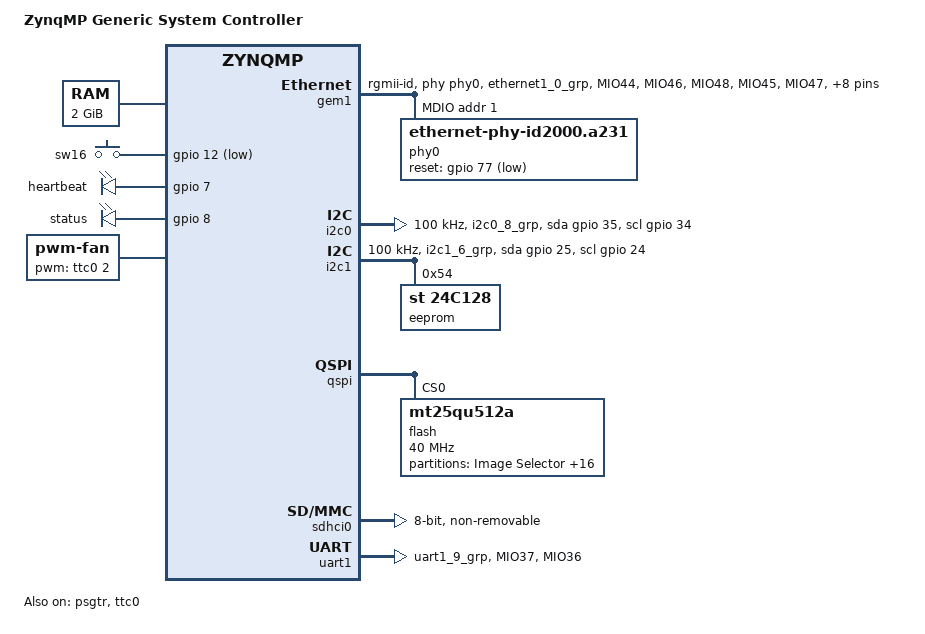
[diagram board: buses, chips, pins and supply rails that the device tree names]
// SPDX-License-Identifier: GPL-2.0
/*
 * dts file for Xilinx ZynqMP Generic System Controller
 *
 * (C) Copyright 2021 - 2022, Xilinx, Inc.
 * (C) Copyright 2022 - 2023, Advanced Micro Devices, Inc.
 *
 * Michal Simek <michal.simek@amd.com>
 */
/dts-v1/;

#include "zynqmp.dtsi"
#include "zynqmp-clk-ccf.dtsi"
#include <dt-bindings/input/input.h>
#include <dt-bindings/gpio/gpio.h>
#include <dt-bindings/net/ti-dp83867.h>
#include <dt-bindings/pinctrl/pinctrl-zynqmp.h>
#include <dt-bindings/phy/phy.h>

/ {
	model = "ZynqMP Generic System Controller";
	compatible = "xlnx,zynqmp-sc-revB", "xlnx,zynqmp-sc", "xlnx,zynqmp";

	aliases {
		i2c0 = &i2c0;
		i2c1 = &i2c1;
		mmc0 = &sdhci0;
		mmc1 = &sdhci1;
		nvmem0 = &eeprom;
		rtc0 = &rtc;
		serial0 = &uart0;
		serial1 = &uart1;
		serial2 = &dcc;
		spi0 = &qspi;
		spi1 = &spi0;
		spi2 = &spi1;
	};

	chosen {
		bootargs = "earlycon";
		stdout-path = "serial1:115200n8";
	};

	memory@0 {
		device_type = "memory";
		reg = <0x0 0x0 0x0 0x80000000>;
	};

	gpio-keys {
		compatible = "gpio-keys";
		autorepeat;
		fwuen {
			label = "sw16";
			gpios = <&gpio 12 GPIO_ACTIVE_LOW>;
			linux,code = <BTN_MISC>;
			wakeup-source;
			autorepeat;
		};
	};

	leds {
		compatible = "gpio-leds";
		ds40-led {
			label = "heartbeat";
			gpios = <&gpio 7 GPIO_ACTIVE_HIGH>;
			linux,default-trigger = "heartbeat";
		};
		ds44-led {
			label = "status";
			gpios = <&gpio 8 GPIO_ACTIVE_HIGH>;
		};
	};

	si5332_2: si5332-2 { /* u42 */
		compatible = "fixed-clock";
		#clock-cells = <0>;
		clock-frequency = <26000000>;
	};

	pwm-fan {
		compatible = "pwm-fan";
		status = "okay";
		pwms = <&ttc0 2 40000 1>;
	};
};

&gpio {
	status = "okay";
	gpio-line-names = "QSPI_CLK", "QSPI_DQ1", "QSPI_DQ2", "QSPI_DQ3", "QSPI_DQ0", /* 0 - 4 */
		"QSPI_CS_B", "", "LED1", "LED2", "", /* 5 - 9 */
		"", "ZU4_TRIGGER", "FWUEN", "EMMC_DAT0", "EMMC_DAT1", /* 10 - 14 */
		"EMMC_DAT2", "EMMC_DAT3", "EMMC_DAT4", "EMMC_DAT5", "EMMC_DAT6", /* 15 - 19 */
		"EMMC_DAT7", "EMMC_CMD", "EMMC_CLK", "EMMC_RST_B", "I2C1_SCL", /* 20 - 24 */
		"I2C1_SDA", "UART0_RXD", "UART0_TXD", "", "", /* 25 - 29 */
		"", "", "", "", "I2C0_SCL", /* 30 - 34 */
		"I2C0_SDA", "UART1_TXD", "UART1_RXD", "GEM_TX_CLK", "GEM_TX_D0", /* 35 - 39 */
		"GEM_TX_D1", "GEM_TX_D2", "GEM_TX_D3", "GEM_TX_CTL", "GEM_RX_CLK", /* 40 - 44 */
		"GEM_RX_D0", "GEM_RX_D1", "GEM_RX_D2", "GEM_RX_D3", "GEM_RX_CTL", /* 45 - 49 */
		"GEM_MDC", "GEM_MDIO", "USB0_CLK", "USB0_DIR", "USB0_DATA2", /* 50 - 54 */
		"USB0_NXT", "USB0_DATA0", "USB0_DATA1", "USB0_STP", "USB0_DATA3", /* 55 - 59 */
		"USB0_DATA4", "USB0_DATA5", "USB0_DATA6", "USB0_DATA7", "", /* 60 - 64 */
		"", "", "", "", "", /* 65 - 69 */
		"", "", "", "", "", /* 70 - 74 */
		"", "", "ETH_RESET_B", /* 75 - 77, MIO end and EMIO start */
		"", "", /* 78 - 79 */
		"", "", "", "", "", /* 80 - 84 */
		"", "", "", "", "", /* 85 -89 */
		"", "", "", "", "", /* 90 - 94 */
		"", "", "", "", "", /* 95 - 99 */
		"", "", "", "", "", /* 100 - 104 */
		"", "", "", "", "", /* 105 - 109 */
		"", "", "", "", "", /* 110 - 114 */
		"", "", "", "", "", /* 115 - 119 */
		"", "", "", "", "", /* 120 - 124 */
		"", "", "", "", "", /* 125 - 129 */
		"", "", "", "", "", /* 130 - 134 */
		"", "", "", "", "", /* 135 - 139 */
		"", "", "", "", "", /* 140 - 144 */
		"", "", "", "", "", /* 145 - 149 */
		"", "", "", "", "", /* 150 - 154 */
		"", "", "", "", "", /* 155 - 159 */
		"", "", "", "", "", /* 160 - 164 */
		"", "", "", "", "", /* 165 - 169 */
		"", "", "", ""; /* 170 - 173 */
};

&gem1 { /* gem1 MIO38-49, MDIO MIO50/51 */
	status = "okay";
	phy-mode = "rgmii-id";
	phy-handle = <&phy0>;
	pinctrl-names = "default";
	pinctrl-0 = <&pinctrl_gem1_default>;

	mdio: mdio {
		#address-cells = <1>;
		#size-cells = <0>;

		phy0: ethernet-phy@1 {
			#phy-cells = <1>;
			compatible = "ethernet-phy-id2000.a231";
			reg = <1>;
			ti,rx-internal-delay = <DP83867_RGMIIDCTL_2_25_NS>;
			ti,tx-internal-delay = <DP83867_RGMIIDCTL_2_75_NS>;
			ti,fifo-depth = <DP83867_PHYCR_FIFO_DEPTH_4_B_NIB>;
			ti,dp83867-rxctrl-strap-quirk;
			reset-gpios = <&gpio 77 GPIO_ACTIVE_LOW>;
			reset-assert-us = <100>;
			reset-deassert-us = <280>;
		};
	};
};

&i2c0 {
	#address-cells = <1>;
	#size-cells = <0>;
	status = "okay";
	clock-frequency = <100000>;
	pinctrl-names = "default", "gpio";
	pinctrl-0 = <&pinctrl_i2c0_default>;
	pinctrl-1 = <&pinctrl_i2c0_gpio>;
	scl-gpios = <&gpio 34 (GPIO_ACTIVE_HIGH | GPIO_OPEN_DRAIN)>;
	sda-gpios = <&gpio 35 (GPIO_ACTIVE_HIGH | GPIO_OPEN_DRAIN)>;
};

&i2c1 { /* i2c1 MIO 24-25 */
	status = "okay";
	bootph-all;
	clock-frequency = <100000>;
	pinctrl-names = "default", "gpio";
	pinctrl-0 = <&pinctrl_i2c1_default>;
	pinctrl-1 = <&pinctrl_i2c1_gpio>;
	scl-gpios = <&gpio 24 (GPIO_ACTIVE_HIGH | GPIO_OPEN_DRAIN)>;
	sda-gpios = <&gpio 25 (GPIO_ACTIVE_HIGH | GPIO_OPEN_DRAIN)>;

	/* Use for storing information about SC board */
	eeprom: eeprom@54 { /* u34 - m24128 16kB */
		compatible = "st,24c128", "atmel,24c128";
		reg = <0x54>; /* & 0x5c */
		bootph-all;
	};
};

/* USB 3.0 only */
&psgtr {
	status = "okay";
	/* nc, nc, usb3 */
	clocks = <&si5332_2>;
	clock-names = "ref2";
};

&qspi { /* MIO 0-5 */
	status = "okay";
	/* QSPI should also have PINCTRL setup */
	flash@0 {
		compatible = "mt25qu512a", "m25p80", "jedec,spi-nor"; /* mt25qu512abb8e12 512Mib */
		#address-cells = <1>;
		#size-cells = <1>;
		reg = <0>;
		spi-tx-bus-width = <4>;
		spi-rx-bus-width = <4>;
		spi-max-frequency = <40000000>; /* 40MHz */
		partition@0 {
			label = "Image Selector";
			reg = <0x0 0x80000>; /* 512KB */
			read-only;
			lock;
		};
		partition@80000 {
			label = "Image Selector Golden";
			reg = <0x80000 0x80000>; /* 512KB */
			read-only;
			lock;
		};
		partition@100000 {
			label = "Persistent Register";
			reg = <0x100000 0x20000>; /* 128KB */
		};
		partition@120000 {
			label = "Persistent Register Backup";
			reg = <0x120000 0x20000>; /* 128KB */
		};
		partition@140000 {
			label = "Open_1";
			reg = <0x140000 0xC0000>; /* 768KB */
		};
		partition@200000 {
			label = "Image A (FSBL, PMU, ATF, U-Boot)";
			reg = <0x200000 0xD00000>; /* 13MB */
		};
		partition@f00000 {
			label = "ImgSel Image A Catch";
			reg = <0xF00000 0x80000>; /* 512KB */
			read-only;
			lock;
		};
		partition@f80000 {
			label = "Image B (FSBL, PMU, ATF, U-Boot)";
			reg = <0xF80000 0xD00000>; /* 13MB */
		};
		partition@1c80000 {
			label = "ImgSel Image B Catch";
			reg = <0x1C80000 0x80000>; /* 512KB */
			read-only;
			lock;
		};
		partition@1d00000 {
			label = "Open_2";
			reg = <0x1D00000 0x100000>; /* 1MB */
		};
		partition@1e00000 {
			label = "Recovery Image";
			reg = <0x1E00000 0x200000>; /* 2MB */
			read-only;
			lock;
		};
		partition@2000000 {
			label = "Recovery Image Backup";
			reg = <0x2000000 0x200000>; /* 2MB */
			read-only;
			lock;
		};
		partition@2200000 {
			label = "U-Boot storage variables";
			reg = <0x2200000 0x20000>; /* 128KB */
		};
		partition@2220000 {
			label = "U-Boot storage variables backup";
			reg = <0x2220000 0x20000>; /* 128KB */
		};
		partition@2240000 {
			label = "SHA256";
			reg = <0x2240000 0x40000>; /* 256B but 256KB sector */
			read-only;
			lock;
		};
		partition@2280000 {
			label = "Secure OS Storage";
			reg = <0x2280000 0x20000>; /* 128KB */
		};
		partition@22A0000 {
			label = "User";
			reg = <0x22A0000 0x1d60000>; /* 29.375 MB */
		};
	};
};

&sdhci0 { /* emmc MIO 13-23 - with some settings MTFC16GAPALBH 16GB */
	status = "okay";
	non-removable;
	disable-wp;
	bus-width = <8>;
	xlnx,mio-bank = <0>;
};

&ttc0 {
	status = "okay";
	#pwm-cells = <3>;
};

&uart1 { /* uart0 MIO36-37 */
	status = "okay";
	pinctrl-names = "default";
	pinctrl-0 = <&pinctrl_uart1_default>;
};

&pinctrl0 { /* required by spec */
	status = "okay";

	pinctrl_uart1_default: uart1-default {
		conf {
			groups = "uart1_9_grp";
			slew-rate = <SLEW_RATE_SLOW>;
			power-source = <IO_STANDARD_LVCMOS18>;
			drive-strength = <12>;
		};

		conf-rx {
			pins = "MIO37";
			bias-high-impedance;
		};

		conf-tx {
			pins = "MIO36";
			bias-disable;
		};

		mux {
			groups = "uart1_9_grp";
			function = "uart1";
		};
	};

	pinctrl_i2c0_default: i2c0-default {
		mux {
			groups = "i2c0_8_grp";
			function = "i2c0";
		};

		conf {
			groups = "i2c0_8_grp";
			bias-pull-up;
			slew-rate = <SLEW_RATE_SLOW>;
			power-source = <IO_STANDARD_LVCMOS18>;
		};
	};

	pinctrl_i2c0_gpio: i2c0-gpio-grp {
		mux {
			groups = "gpio0_34_grp", "gpio0_35_grp";
			function = "gpio0";
		};

		conf {
			groups = "gpio0_34_grp", "gpio0_35_grp";
			slew-rate = <SLEW_RATE_SLOW>;
			power-source = <IO_STANDARD_LVCMOS18>;
		};
	};

	pinctrl_i2c1_default: i2c1-default {
		conf {
			groups = "i2c1_6_grp";
			bias-pull-up;
			slew-rate = <SLEW_RATE_SLOW>;
			power-source = <IO_STANDARD_LVCMOS18>;
		};

		mux {
			groups = "i2c1_6_grp";
			function = "i2c1";
		};
	};

	pinctrl_i2c1_gpio: i2c1-gpio-grp {
		conf {
			groups = "gpio0_24_grp", "gpio0_25_grp";
			slew-rate = <SLEW_RATE_SLOW>;
			power-source = <IO_STANDARD_LVCMOS18>;
		};

		mux {
			groups = "gpio0_24_grp", "gpio0_25_grp";
			function = "gpio0";
		};
	};

	pinctrl_gem1_default: gem1-default {
		conf {
			groups = "ethernet1_0_grp";
			slew-rate = <SLEW_RATE_SLOW>;
			power-source = <IO_STANDARD_LVCMOS18>;
		};

		conf-rx {
			pins = "MIO44", "MIO46", "MIO48";
			bias-high-impedance;
			low-power-disable;
		};

		conf-bootstrap {
			pins = "MIO45", "MIO47", "MIO49";
			bias-disable;
			low-power-disable;
		};

		conf-tx {
			pins = "MIO38", "MIO39", "MIO40",
				"MIO41", "MIO42", "MIO43";
			bias-disable;
			low-power-enable;
		};

		conf-mdio {
			groups = "mdio1_0_grp";
			slew-rate = <SLEW_RATE_SLOW>;
			power-source = <IO_STANDARD_LVCMOS18>;
			bias-disable;
		};

		mux-mdio {
			function = "mdio1";
			groups = "mdio1_0_grp";
		};

		mux {
			function = "ethernet1";
			groups = "ethernet1_0_grp";
		};
	};
};
